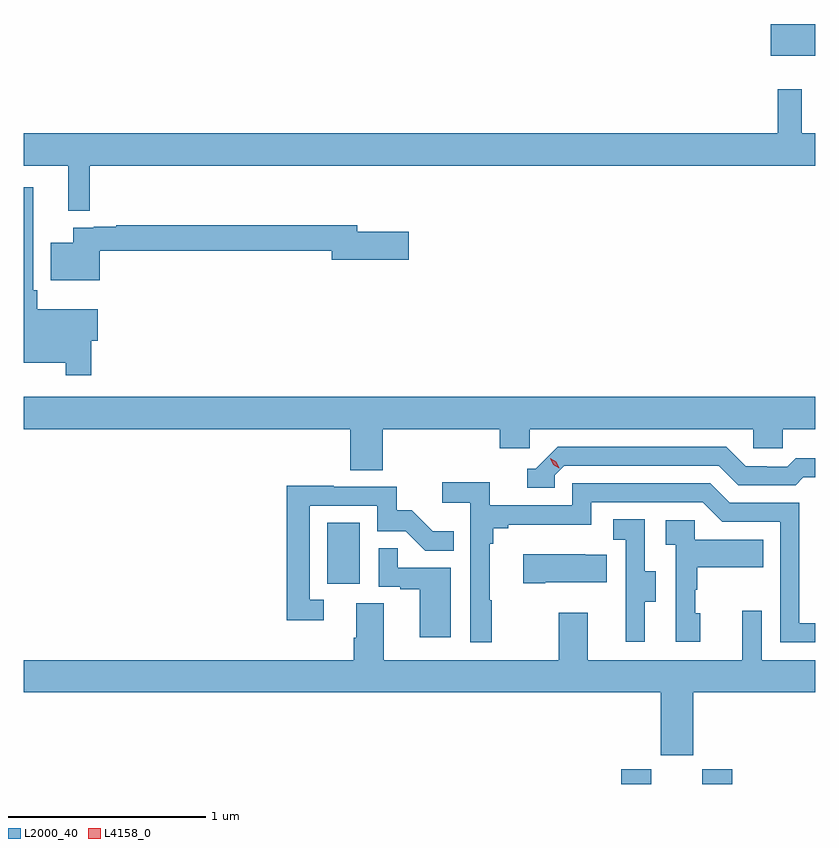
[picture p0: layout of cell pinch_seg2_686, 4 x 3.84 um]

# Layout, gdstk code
import gdstk
lib = gdstk.Library(unit=1e-6, precision=1e-09)
def R(c, l, rs):  # rectangles x0, y0, x1, y1
    for r in rs: c.add(gdstk.rectangle(r[:2], r[2:], *l))
def P(c, l, *ps):  # polygons
    for p in ps: c.add(gdstk.Polygon(p, *l))
L2000_40 = (2000, 40)
L4158_0 = (4158, 0)

pinch_seg2_686 = lib.new_cell('pinch_seg2_686')
R(pinch_seg2_686, L2000_40, [(1098.764,589.897,1098.916,589.971), (1099.172,589.897,1099.325,589.971), (1097.276,590.91,1097.44,591.217), (1099.52,593.579,1099.743,593.74)])
P(pinch_seg2_686, L2000_40, [(1096.076,593.024),(1099.743,593.024),(1099.743,593.188),(1099.675,593.188),(1099.675,593.41),(1099.554,593.41),(1099.554,593.188),(1095.743,593.188),(1095.743,593.024),(1095.968,593.024),(1095.968,592.795),(1096.076,592.795)],
  [(1096.082,592.139),(1096.117,592.139),(1096.117,592.297),(1095.809,592.297),(1095.809,592.393),(1095.789,592.393),(1095.789,592.915),(1095.743,592.915),(1095.743,592.028),(1095.954,592.028),(1095.954,591.963),(1096.082,591.963)],
  [(1096.127,592.594),(1097.3,592.594),(1097.3,592.547),(1097.689,592.547),(1097.689,592.689),(1097.428,592.689),(1097.428,592.723),(1096.21,592.723),(1096.21,592.716),(1096.096,592.716),(1096.096,592.71),(1095.992,592.71),(1095.992,592.633),(1095.878,592.633),(1095.878,592.445),(1096.127,592.445)],
  [(1097.558,591.692),(1098.149,591.692),(1098.149,591.594),(1098.3,591.594),(1098.3,591.692),(1099.431,591.692),(1099.431,591.594),(1099.581,591.594),(1099.581,591.692),(1099.743,591.692),(1099.743,591.856),(1095.743,591.856),(1095.743,591.692),(1097.393,591.692),(1097.393,591.484),(1097.558,591.484)],
  [(1098.426,591.459),(1098.474,591.507),(1099.257,591.507),(1099.356,591.408),(1099.645,591.408),(1099.684,591.447),(1099.743,591.447),(1099.743,591.544),(1099.645,591.544),(1099.603,591.501),(1099.5,591.501),(1099.5,591.504),(1099.393,591.504),(1099.294,591.603),(1098.441,591.603),(1098.33,591.492),(1098.287,591.492),(1098.287,591.396),(1098.426,591.396)],
  [(1098.109,590.825),(1098.097,590.825),(1098.097,591.113),(1098.116,591.113),(1098.116,591.19),(1098.193,591.19),(1098.193,591.209),(1098.612,591.209),(1098.612,591.321),(1099.176,591.321),(1099.275,591.222),(1099.566,591.222),(1099.566,590.613),(1099.743,590.613),(1099.743,590.709),(1099.662,590.709),(1099.662,591.318),(1099.312,591.318),(1099.213,591.417),(1098.516,591.417),(1098.516,591.306),(1098.098,591.306),(1098.098,591.422),(1097.859,591.422),(1097.859,591.32),(1098,591.32),(1098,590.613),(1098.109,590.613)],
  [(1097.26,590.829),(1097.187,590.829),(1097.187,591.303),(1097.529,591.303),(1097.529,591.174),(1097.673,591.174),(1097.771,591.076),(1097.915,591.076),(1097.915,591.175),(1097.811,591.175),(1097.704,591.282),(1097.628,591.282),(1097.628,591.399),(1097.309,591.399),(1097.309,591.404),(1097.071,591.404),(1097.071,590.724),(1097.26,590.724)],
  [(1098.883,590.818),(1098.937,590.818),(1098.937,590.973),(1098.882,590.973),(1098.882,591.236),(1098.723,591.236),(1098.723,591.133),(1098.786,591.133),(1098.786,590.829),(1098.785,590.829),(1098.785,590.616),(1098.883,590.616)],
  [(1099.162,590.76),(1099.137,590.76),(1099.137,590.879),(1099.147,590.879),(1099.147,590.993),(1099.481,590.993),(1099.481,591.133),(1099.134,591.133),(1099.134,591.231),(1098.987,591.231),(1098.987,591.107),(1099.038,591.107),(1099.038,590.616),(1099.162,590.616)],
  [(1097.902,590.991),(1097.633,590.991),(1097.633,591.089),(1097.538,591.089),(1097.538,590.895),(1097.645,590.895),(1097.645,590.883),(1097.744,590.883),(1097.744,590.64),(1097.902,590.64)],
  [(1098.379,590.918),(1098.689,590.918),(1098.689,591.055),(1098.581,591.055),(1098.581,591.058),(1098.267,591.058),(1098.267,590.911),(1098.379,590.911)],
  [(1099.126,590.36),(1099.743,590.36),(1099.743,590.524),(1099.473,590.524),(1099.473,590.773),(1099.376,590.773),(1099.376,590.524),(1098.595,590.524),(1098.595,590.764),(1098.448,590.764),(1098.448,590.524),(1097.563,590.524),(1097.563,590.81),(1097.423,590.81),(1097.423,590.636),(1097.411,590.636),(1097.411,590.524),(1095.743,590.524),(1095.743,590.36),(1098.962,590.36),(1098.962,590.043),(1099.126,590.043)])
P(pinch_seg2_686, L4158_0, [(1098.45,591.493),(1098.419,591.512),(1098.403,591.545),(1098.403,591.545),(1098.403,591.545),(1098.434,591.526),(1098.45,591.493),(1098.45,591.493)])

lib.write_gds('pinch_seg2_686.gds')
